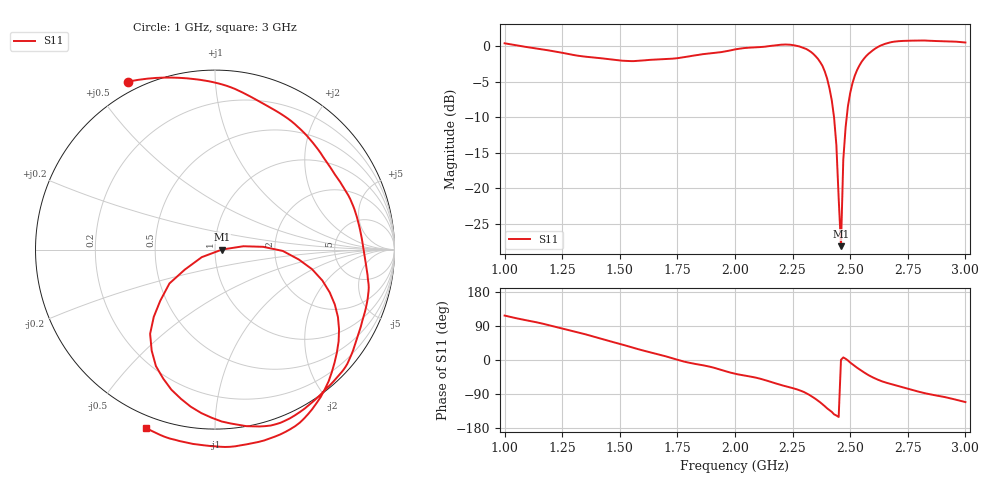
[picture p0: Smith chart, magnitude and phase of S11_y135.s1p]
!  07.03.2025  13:26:20
! Ref Plane: 0,000 mm
# MHZ S MA R  50
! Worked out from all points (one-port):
!   201 points, 1 GHz to 3 GHz, reference 50 ohm
!   lowest |S11| = -28.1 dB at 2.46 GHz (marker M1), VSWR 1.08, Z = 54.1 + j0.0341 ohm
!   |S11| at or under -10 dB: 2.43 GHz to 2.485 GHz (54.78 MHz wide, 2.23 % of centre)
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1000  1.052 117.3
1140  0.9671 99.3
1250  0.9021 82.9
1390  0.8357 61.1
1500  0.7973 42.4
1630  0.8043 20.6
1750  0.8265 0.7
1880  0.8893 -16.3
2000  0.9529 -36.2
2110  0.99 -49.5
2200  1.029 -66.0
2250  1.023 -74.1
2330  0.914 -94.8
2370  0.7747 -111.8
2400  0.5924 -127.6
2420  0.4177 -136.9
2430  0.3162 -143.4
2440  0.2021 -146.4
2460  0.03917 0.5
2470  0.1592 6.8
2480  0.2687 3.3
2500  0.47 -6.7
2530  0.6824 -20.5
2570  0.8573 -36.5
2650  1.041 -58.7
2750  1.098 -75.6
2900  1.09 -96.5
3000  1.066 -111.0
